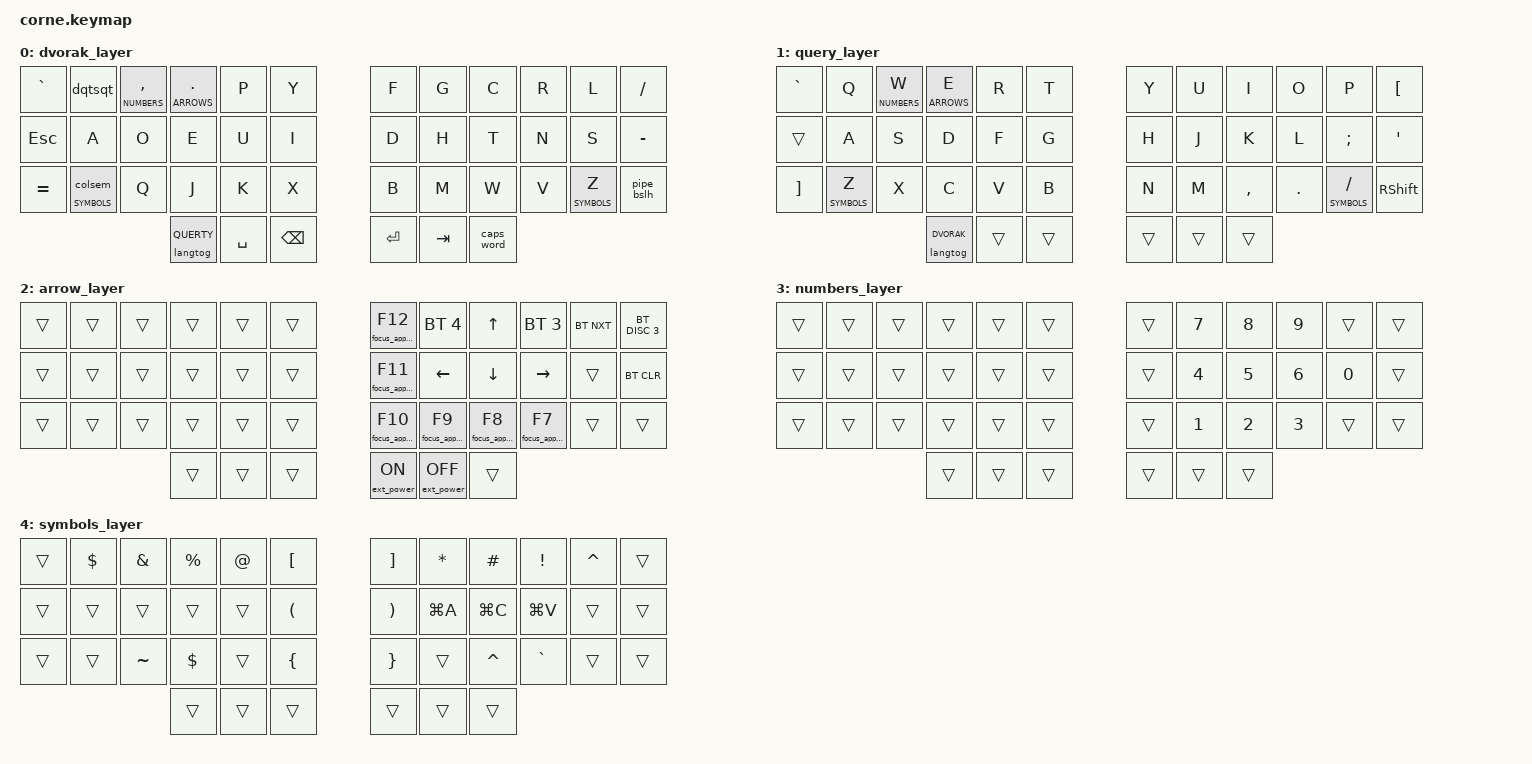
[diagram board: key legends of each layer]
/*
 * Copyright (c) 2020 The ZMK Contributors
 *
 * SPDX-License-Identifier: MIT
 */

#include <behaviors.dtsi>
#include <dt-bindings/zmk/keys.h>
#include <dt-bindings/zmk/bt.h>
#include <dt-bindings/zmk/ext_power.h>

#define DVORAK 0
#define QUERTY 1
#define ARROWS  2
#define NUMBERS 3
#define SYMBOLS 4

/ {
    combos {
        compatible = "zmk,combos";
        combo_left_option {
            timeout-ms = <90>;
            key-positions = <13 16>;
            bindings = <&kp LALT>;
        };
        combo_left_ctrl {
            timeout-ms = <90>;
            key-positions = <15 16>;
            bindings = <&kp LCTRL>;
        };
        combo_left_shift {
            timeout-ms = <90>;
            key-positions = <14 16>;
            bindings = <&kp LSHFT>;
        };
        combo_left_cmd {
            timeout-ms = <90>;
            key-positions = <14 15>;
            bindings = <&kp LCMD>;
        };
        combo_left_cmd_shift {
            timeout-ms = <90>;
            key-positions = <14 15 16>;
            bindings = <&kp LS(LCMD)>;
        };
        combo_left_cmd_option {
            timeout-ms = <90>;
            key-positions = <13 15 16>;
            bindings = <&kp LA(LCMD)>;
        };
        combo_right_option {
            timeout-ms = <90>;
            key-positions = <19 22>;
            bindings = <&kp RALT>;
        };
        combo_right_ctrl {
            timeout-ms = <90>;
            key-positions = <19 20>;
            bindings = <&kp RCTRL>;
        };
        combo_right_shift {
            timeout-ms = <90>;
            key-positions = <19 21>;
            bindings = <&kp RSHFT>;
        };
        combo_right_cmd {
            timeout-ms = <90>;
            key-positions = <20 21>;
            bindings = <&kp LCMD>;
        };
        combo_right_cmd_shift {
            timeout-ms = <90>;
            key-positions = <19 20 21>;
            bindings = <&kp RS(RCMD)>;
        };
        combo_right_cmd_option {
            timeout-ms = <90>;
            key-positions = <19 20 22>;
            bindings = <&kp LA(LCMD)>;
        };
    };
};

/ {
        behaviors {
            colsem: colon_semicolon {
                #binding-cells = <0>;
                bindings = <&kp COLON>, <&kp SEMICOLON>;
                compatible = "zmk,behavior-mod-morph";
                mods = <(MOD_LSFT|MOD_RSFT)>;
            };
            dqtsqt: double_quote_single_quote {
                #binding-cells = <0>;
                bindings = <&kp DQT>, <&kp SQT>;
                compatible = "zmk,behavior-mod-morph";
                mods = <(MOD_LSFT|MOD_RSFT)>;
            };
            pipe_bslh: pipe_backslash {
                #binding-cells = <0>;
                bindings = <&kp PIPE>, <&kp BSLH>;
                compatible = "zmk,behavior-mod-morph";
                mods = <(MOD_LSFT|MOD_RSFT)>;
            };
            pisl: pipe_bslash {
                #binding-cells = <2>;
                bindings = <&kp>, <&pipe_bslh>;
                compatible = "zmk,behavior-hold-tap";
                flavor = "tap-preferred";
                quick-tap-ms = <0>;
                tapping-term-ms = <150>;
            };
            syclsm: symbols_colsem {
                #binding-cells = <2>;
                bindings = <&mo>, <&colsem>;
                compatible = "zmk,behavior-hold-tap";
                flavor = "tap-preferred";
                quick-tap-ms = <0>;
                tapping-term-ms = <200>;
            };
            rpi: require_prior_idle {
                #binding-cells = <2>;
                bindings = <&kp>, <&kp>;
                compatible = "zmk,behavior-hold-tap";
                flavor = "tap-preferred";
                quick-tap-ms = <200>;
                require-prior-idle-ms = <125>;
                tapping-term-ms = <200>;
            };
        };

        macros {
          langtog: langtog {
              compatible = "zmk,behavior-macro-one-param";
              wait-ms = <0>;
              tap-ms = <0>;
              #binding-cells = <1>;
              bindings
                  = <&macro_param_1to1>
                  , <&macro_tap &to MACRO_PLACEHOLDER>
                  , <&macro_tap &kp LC(SPACE)>;
          };

          focus_app_kb: focus_app_kb {
              compatible = "zmk,behavior-macro-one-param";
              wait-ms = <0>;
              tap-ms = <0>;
              #binding-cells = <1>;
              bindings
                  = <&macro_press &kp LCMD>
                  , <&macro_tap &kp H >
                  , <&macro_release &kp LCMD>
                  , <&macro_press &kp LCMD>
                  , <&macro_param_1to1>
                  , <&macro_tap &kp MACRO_PLACEHOLDER>
                  , <&macro_release &kp LCMD>;
          };
        };

        keymap {
                compatible = "zmk,keymap";

                dvorak_layer {
// -----------------------------------------------------------------------------------------
// | LCMD/`~   |  '"  |  ,<  |  .>  |  P  |  Y  |   |  F  |  G   |  C  |  R  |  L  | RCMD//?   |
// | CTRL/ESC  |  A   |  O   |  E   |  U  |  I  |   |  D  |  H   |  T  |  N  |  S  | CTRL/-_   |
// | SHFT/=+   |sym/:;|  Q   |  J   |  K  |  X  |   |  B  |  M   |  W  |  V  |  Z  | RSHFT/|\  |
//                           | QWRT |SPACE| BSPC|   | ENT | TAB  |CAPS |
                        bindings = <
   &kp GRAVE  &dqtsqt            &lt NUMBERS COMMA &lt ARROWS DOT   &kp P      &kp Y       &kp F   &kp G    &kp C    &kp R    &kp L          &kp SLASH
   &kp ESC    &kp A              &kp O             &kp E            &kp U      &kp I       &kp D   &kp H    &kp T    &kp N    &kp S          &kp MINUS
   &kp EQUAL  &syclsm SYMBOLS 0  &kp Q             &kp J            &kp K      &kp X       &kp B   &kp M    &kp W    &kp V    &lt SYMBOLS Z  &pipe_bslh
                                     &langtog QUERTY  &kp SPACE  &kp BSPC      &kp RET &kp TAB  &caps_word
                        >;
                };

                query_layer {
// -----------------------------------------------------------------------------------------
// |  `~  |  Q  |  W  |  E  |  R  |  T  |   |  Y  |  U   |  I  |  O  |  P  | [{   |
// | ]}   |  A  |  S  |  D  |  F  |  G  |   |  H  |  J   |  K  |  L  |  ;  |  '   |
// | SHFT |  Z  |  X  |  C  |  V  |  B  |   |  N  |  M   |  ,  |  .  |  /  | SHFT |
//                    | DVK | SPACE | BSPC |   | ENT | TAB  | CAPS |
                        bindings = <
   &kp GRAVE    &kp Q           &lt NUMBERS W  &lt ARROWS E  &kp R  &kp T       &kp Y  &kp U  &kp I     &kp O   &kp P            &kp LBKT
   &trans       &kp A           &kp S          &kp D         &kp F  &kp G       &kp H  &kp J  &kp K     &kp L   &kp SEMI         &kp SQT
   &kp RBKT      &lt SYMBOLS Z   &kp X          &kp C         &kp V  &kp B       &kp N  &kp M  &kp COMMA &kp DOT &lt SYMBOLS FSLH &kp RSHFT
                                            &langtog DVORAK &trans &trans       &trans &trans &trans
                        >;
                };
                arrow_layer {
                        bindings = <
   &trans  &trans &trans &trans &trans &trans    &focus_app_kb F12   &bt BT_SEL 4      &kp UP            &bt BT_SEL 3      &bt BT_NXT &bt BT_DISC 3
   &trans  &trans &trans &trans &trans &trans    &focus_app_kb F11   &kp LEFT          &kp DOWN          &kp RIGHT         &trans     &bt BT_CLR
   &trans  &trans &trans &trans &trans &trans    &focus_app_kb F10   &focus_app_kb F9  &focus_app_kb F8  &focus_app_kb F7  &trans     &trans
                         &trans &trans &trans    &ext_power EP_ON &ext_power EP_OFF &trans
                        >;
                };

                numbers_layer {
                        bindings = <
   &trans  &trans &trans &trans &trans &trans    &trans &kp NUMBER_7 &kp NUMBER_8 &kp NUMBER_9 &trans &trans
   &trans  &trans &trans &trans &trans &trans    &trans &kp NUMBER_4 &kp NUMBER_5 &kp NUMBER_6 &kp NUMBER_0 &trans
   &trans  &trans &trans &trans &trans &trans    &trans &kp NUMBER_1 &kp NUMBER_2 &kp NUMBER_3 &trans &trans
                         &trans &trans &trans    &trans &trans &trans
                        >;
                };

                symbols_layer {
// -----------------------------------------------------------------------------------------
// |      |  $  |  &  |  %  |  @  |  [  |   |  ]  |  *   |  #   |  !  |  ^  |      |
// |      |     |     |     |     |  {  |   |  }  | CMD A| CMD C|CMD V|     |      |
// |      |     |  ~  |  $  |     |  (  |   |  )  |      |  ^   |  `  |     |      |
//                    | DVK | BSPC | SPACE |   | ENT | TAB  | CAPS |
                        bindings = <
   &trans  &kp DLLR &kp AMPS &kp PRCNT &kp AT &kp LBKT    &kp RBKT &kp STAR &kp HASH &kp EXCL &kp CARET &trans
   &trans  &trans   &trans   &trans    &trans &kp LPAR    &kp RPAR &kp LG(A)   &kp LG(C)   &kp LG(V)   &trans    &trans
   &trans  &trans   &kp TILDE &kp DLLR &trans &kp LBRC    &kp RBRC &trans   &kp CARET   &kp GRAVE   &trans    &trans
                                  &trans &trans &trans    &trans &trans &trans
                        >;
                };
        };
};
